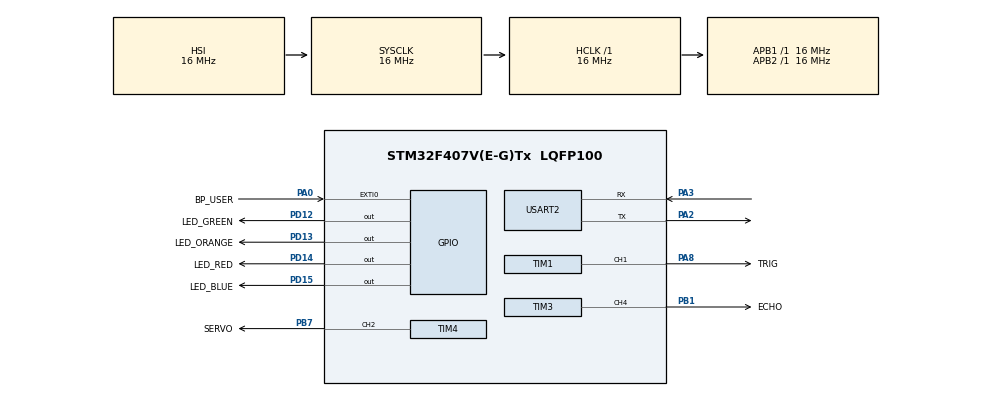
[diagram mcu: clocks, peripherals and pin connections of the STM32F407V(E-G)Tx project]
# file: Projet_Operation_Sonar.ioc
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Mcu.Family=STM32F4
Mcu.Name=STM32F407V(E-G)Tx
Mcu.Package=LQFP100
NVIC.EXTI0_IRQn=true\:0\:0\:false\:false\:true\:true\:true\:true
NVIC.PriorityGroup=NVIC_PRIORITYGROUP_4
PA0-WKUP.GPIO_Label=BP_USER
PA0-WKUP.GPIO_ModeDefaultEXTI=GPIO_MODE_IT_RISING
PA0-WKUP.GPIO_PuPd=GPIO_PULLDOWN
PA0-WKUP.Signal=GPXTI0
PA13.Mode=Serial_Wire
PA13.Signal=SYS_JTMS-SWDIO
PA14.Mode=Serial_Wire
PA14.Signal=SYS_JTCK-SWCLK
PA2.Mode=Asynchronous
PA2.Signal=USART2_TX
PA3.Mode=Asynchronous
PA3.Signal=USART2_RX
PA8.GPIO_Label=TRIG
PA8.Signal=S_TIM1_CH1
PB1.GPIO_Label=ECHO
PB1.Signal=S_TIM3_CH4
PB7.GPIO_Label=SERVO
PB7.Signal=S_TIM4_CH2
PD12.GPIO_Label=LED_GREEN
PD12.Signal=GPIO_Output
PD13.GPIO_Label=LED_ORANGE
PD13.Signal=GPIO_Output
PD14.GPIO_Label=LED_RED
PD14.Signal=GPIO_Output
PD15.GPIO_Label=LED_BLUE
PD15.Signal=GPIO_Output
ProjectManager.HeapSize=0x200
ProjectManager.StackSize=0x400
ProjectManager.TargetToolchain=Makefile
RCC.AHBFreq_Value=16000000
RCC.APB1Freq_Value=16000000
RCC.APB2Freq_Value=16000000
RCC.CortexFreq_Value=16000000
RCC.HSE_VALUE=25000000
RCC.HSI_VALUE=16000000
RCC.LSE_VALUE=32768
RCC.SYSCLKFreq_VALUE=16000000
RCC.VCOOutputFreq_Value=192000000
SH.S_TIM1_CH1.0=TIM1_CH1,PWM Generation1 CH1
SH.S_TIM3_CH4.0=TIM3_CH4,PWM Generation4 CH4
SH.S_TIM4_CH2.0=TIM4_CH2,PWM Generation2 CH2
TIM1.Channel-PWM\ Generation1\ CH1=TIM_CHANNEL_1
TIM1.Period=49999
TIM1.Prescaler=79
TIM3.Channel-PWM\ Generation4\ CH4=TIM_CHANNEL_4
TIM4.AutoReloadPreload=TIM_AUTORELOAD_PRELOAD_ENABLE
TIM4.Channel-PWM\ Generation2\ CH2=TIM_CHANNEL_2
TIM4.Period=7999
TIM4.Prescaler=39
USART2.VirtualMode=VM_ASYNC
board=custom

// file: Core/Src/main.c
/* USER CODE BEGIN Header */
/**
 ******************************************************************************
 * @file           : main.c
 * @brief          : Main program body
 ******************************************************************************
 * @attention
 *
 * Copyright (c) 2024 STMicroelectronics.
 * All rights reserved.
 *
 * This software is licensed under terms that can be found in the LICENSE file
 * in the root directory of this software component.
 * If no LICENSE file comes with this software, it is provided AS-IS.
 *
 ******************************************************************************
 */
/* USER CODE END Header */
#include "main.h"
#include "tim.h"
#include "usart.h"
#include "gpio.h"

/* USER CODE BEGIN Includes */
#include "servo.h"
#include "uart.h"
#include "ultrasonic.h"

#include <stm32f4xx_hal_tim.h>
#include <stdio.h>

static int mode = 1;

/* USER CODE END Includes */

void SystemClock_Config(void);

int main(void)
{

  /* MCU Configuration--------------------------------------------------------*/

  /* Reset of all peripherals, Initializes the Flash interface and the Systick. */
  HAL_Init();

  /* Configure the system clock */
  SystemClock_Config();

  /* Initialize all configured peripherals */
  MX_GPIO_Init();
  MX_TIM3_Init();
  MX_TIM4_Init();
  MX_USART2_UART_Init();
  MX_TIM1_Init();
  /* USER CODE BEGIN 2 */
  HAL_TIM_PWM_Start(&htim4, TIM_CHANNEL_2);
  HAL_TIM_PWM_Start(&htim1, TIM_CHANNEL_1);
  __HAL_TIM_SetCompare(&htim1, TIM_CHANNEL_1, 49997);
  HAL_TIM_Base_Start(&htim3);

  /* USER CODE END 2 */

  /* Infinite loop */
  while (1)
  {

    /* USER CODE BEGIN 3 */

    // permet de choisir le mode de fonctionnement
    switch (mode)
    {
    case 1:
      HAL_GPIO_WritePin(LED_BLUE_GPIO_Port, LED_BLUE_Pin, GPIO_PIN_SET);
      HAL_GPIO_WritePin(LED_GREEN_GPIO_Port, LED_GREEN_Pin, GPIO_PIN_RESET);

      loop_received_uart_servo();
      break;
    case 2:
      HAL_GPIO_WritePin(LED_GREEN_GPIO_Port, LED_GREEN_Pin, GPIO_PIN_SET);
      HAL_GPIO_WritePin(LED_BLUE_GPIO_Port, LED_BLUE_Pin, GPIO_PIN_RESET);

      calculateDistance();

      int distance= getDistance();

      setServoPosition(distance*4);
      char messageDistance[50];
      sprintf(messageDistance, "Distance du capteur ultrasons en cm: %c\n", distance);
      display_uart_message(messageDistance);
      break;
    }
  }

  /* USER CODE END 3 */
}

void SystemClock_Config(void)
{
  RCC_OscInitTypeDef RCC_OscInitStruct = {0};
  RCC_ClkInitTypeDef RCC_ClkInitStruct = {0};

  /** Configure the main internal regulator output voltage
  */
  __HAL_RCC_PWR_CLK_ENABLE();
  __HAL_PWR_VOLTAGESCALING_CONFIG(PWR_REGULATOR_VOLTAGE_SCALE1);

  /** Initializes the RCC Oscillators according to the specified parameters
  * in the RCC_OscInitTypeDef structure.
  */
  RCC_OscInitStruct.OscillatorType = RCC_OSCILLATORTYPE_HSI;
  RCC_OscInitStruct.HSIState = RCC_HSI_ON;
  RCC_OscInitStruct.HSICalibrationValue = RCC_HSICALIBRATION_DEFAULT;
  RCC_OscInitStruct.PLL.PLLState = RCC_PLL_NONE;
  if (HAL_RCC_OscConfig(&RCC_OscInitStruct) != HAL_OK)
  {
    Error_Handler();
  }

  /** Initializes the CPU, AHB and APB buses clocks
  */
  RCC_ClkInitStruct.ClockType = RCC_CLOCKTYPE_HCLK|RCC_CLOCKTYPE_SYSCLK
                              |RCC_CLOCKTYPE_PCLK1|RCC_CLOCKTYPE_PCLK2;
  RCC_ClkInitStruct.SYSCLKSource = RCC_SYSCLKSOURCE_HSI;
  RCC_ClkInitStruct.AHBCLKDivider = RCC_SYSCLK_DIV1;
  RCC_ClkInitStruct.APB1CLKDivider = RCC_HCLK_DIV1;
  RCC_ClkInitStruct.APB2CLKDivider = RCC_HCLK_DIV1;

  if (HAL_RCC_ClockConfig(&RCC_ClkInitStruct, FLASH_LATENCY_0) != HAL_OK)
  {
    Error_Handler();
  }
}

/* USER CODE BEGIN 4 */

/**
 * @brief Fonction de rappel pour l'interruption EXTI du GPIO.
 *
 * Cette fonction est appelée lorsqu'un événement d'interruption se produit sur la broche GPIO spécifiée.
 * Elle vérifie si l'interruption est déclenchée par la broche BP_USER et met à jour le mode en conséquence.
 *
 * @param GPIO_Pin Le numéro de la broche GPIO qui a déclenché l'interruption.
 */
void HAL_GPIO_EXTI_Callback(uint16_t GPIO_Pin)
{
  if (GPIO_Pin == BP_USER_Pin)
  {
    if (mode == 1)
    {
      mode = 2;
    }
    else
    {
      mode = 1;
    }
  }
}
/* USER CODE END 4 */

void Error_Handler(void)
{
  __disable_irq();
  while (1)
  {
  }
}
